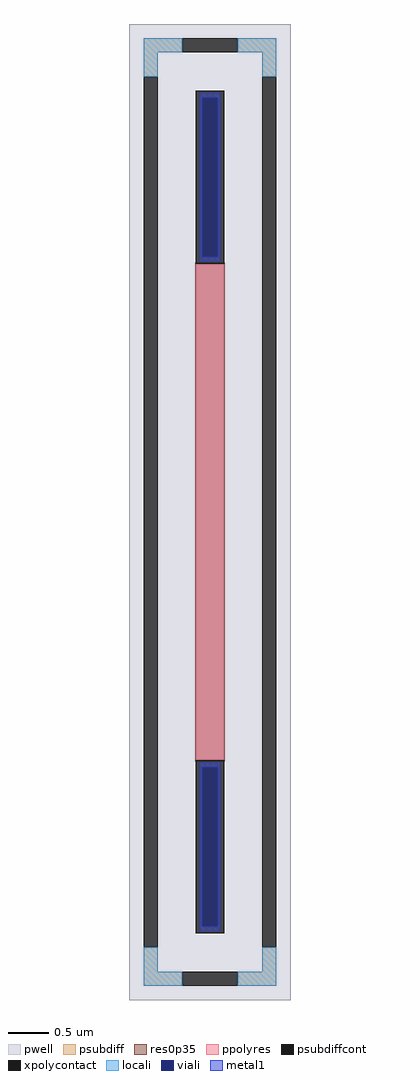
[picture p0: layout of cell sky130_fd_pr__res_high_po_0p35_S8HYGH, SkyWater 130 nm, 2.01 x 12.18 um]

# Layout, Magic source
magic
tech sky130A
magscale 1 2
<< pwell >>
rect -201 -1218 201 1218
<< psubdiff >>
rect -165 1148 -69 1182
rect 69 1148 165 1182
rect -165 1086 -131 1148
rect 131 1086 165 1148
rect -165 -1148 -131 -1086
rect 131 -1148 165 -1086
rect -165 -1182 -69 -1148
rect 69 -1182 165 -1148
<< psubdiffcont >>
rect -69 1148 69 1182
rect -165 -1086 -131 1086
rect 131 -1086 165 1086
rect -69 -1182 69 -1148
<< xpolycontact >>
rect -35 620 35 1052
rect -35 -1052 35 -620
<< ppolyres >>
rect -35 -620 35 620
<< locali >>
rect -165 1148 -69 1182
rect 69 1148 165 1182
rect -165 1086 -131 1148
rect 131 1086 165 1148
rect -165 -1148 -131 -1086
rect 131 -1148 165 -1086
rect -165 -1182 -69 -1148
rect 69 -1182 165 -1148
<< viali >>
rect -19 637 19 1034
rect -19 -1034 19 -637
<< metal1 >>
rect -25 1034 25 1046
rect -25 637 -19 1034
rect 19 637 25 1034
rect -25 625 25 637
rect -25 -637 25 -625
rect -25 -1034 -19 -637
rect 19 -1034 25 -637
rect -25 -1046 25 -1034
<< res0p35 >>
rect -37 -622 37 622
<< properties >>
string FIXED_BBOX -148 -1165 148 1165
string gencell sky130_fd_pr__res_high_po_0p35
string library sky130
string parameters w 0.350 l 6.2 m 1 nx 1 wmin 0.350 lmin 0.50 rho 319.8 val 5.774k dummy 0 dw 0.0 term 19.188 sterm 0.0 caplen 0 guard 1 glc 1 grc 1 gtc 1 gbc 1 compatible {sky130_fd_pr__res_high_po_0p35  sky130_fd_pr__res_high_po_0p69 sky130_fd_pr__res_high_po_1p41  sky130_fd_pr__res_high_po_2p85 sky130_fd_pr__res_high_po_5p73} full_metal 1 wmax 0.350 vias 1 n_guard 0 hv_guard 0 viagb 0 viagt 0 viagl 0 viagr 0
<< end >>
